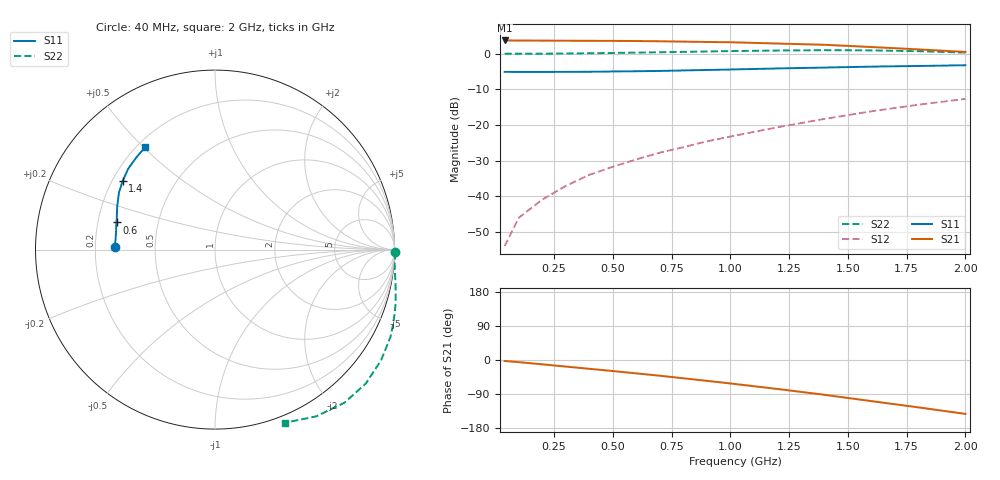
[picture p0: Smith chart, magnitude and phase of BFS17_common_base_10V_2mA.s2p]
! Filename:  BFS17CBF.S2P  Version:  2.0
! Philips part #: BFS17  Date: Jul 1990
! Bias condition: Vce=10V, Ic=2mA
! COMMON BASE
#  MHz  S  MA  R  50
! Freq  S11  S21  S12  S22
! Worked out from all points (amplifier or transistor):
!   16 points, 40 MHz to 2 GHz, reference 50 ohm
!   highest |S21| = 3.7 dB at 40 MHz (marker M1)
!   |S21| within 3 dB of that: start of sweep to 1.939 GHz
!   unconditionally stable (mu >= 1): nowhere
!   at 200 MHz: K = -0.23, MSG = 22.3 dB, |S12| = -40.9 dB
!   at 800 MHz: K = -0.75, MSG = 14.8 dB, |S12| = -26.2 dB
!   at 2 GHz: K = 0.02, MSG = 6.6 dB, |S12| = -12.7 dB
!   S11 on the Smith chart (normalised r, x): 40 MHz: 0.28, +0.01; 600 MHz: 0.28, +0.12; 1.4 GHz: 0.24, +0.31; 2 GHz: 0.23, +0.51
40  0.558 178.7  1.539 -2.5  0.002 85.6  1.002 -0.9
100  0.557 177.3  1.535 -5.7  0.005 89.3  1.005 -2.1
200  0.557 174.7  1.53 -11.4  0.009 95.7  1.004 -4.4
300  0.558 172.1  1.526 -17.3  0.014 101.4  1.009 -6.8
400  0.56 169.7  1.521 -23.2  0.02 104.6  1.018 -9.3
500  0.565 167.1  1.518 -29.1  0.026 108.2  1.028 -11.8
600  0.569 164.6  1.511 -35.3  0.033 110.8  1.039 -14.3
700  0.575 162.1  1.499 -41.5  0.041 112.9  1.052 -17.1
800  0.584 159.3  1.482 -48.2  0.049 115.2  1.064 -20.0
900  0.593 156.8  1.466 -55.0  0.059 116.6  1.078 -23.2
1000  0.602 154.3  1.452 -61.9  0.069 117.6  1.092 -26.5
1200  0.623 149.1  1.394 -76.4  0.093 118.9  1.112 -33.7
1400  0.641 143.4  1.338 -91.8  0.122 117.9  1.124 -41.6
1600  0.661 137.0  1.245 -108.5  0.156 116.7  1.117 -49.8
1800  0.675 130.6  1.153 -125.0  0.193 113.5  1.087 -58.7
2000  0.691 124.2  1.063 -142.2  0.233 109.6  1.041 -67.9
